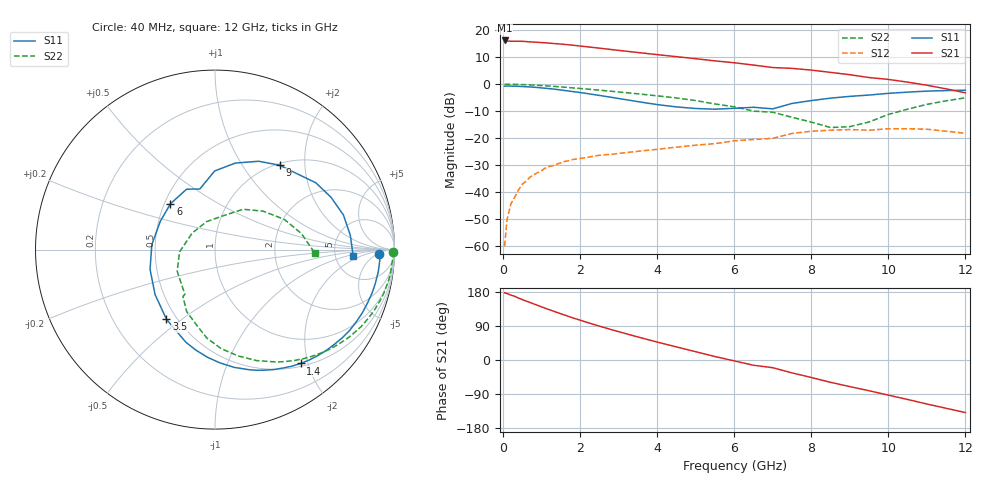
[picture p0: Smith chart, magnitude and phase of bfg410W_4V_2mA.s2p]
! Filename: 42bfg410.001
! BFG410W Field B1
! V1=8.279E-001V,V2=4.000E+000V, I1=2.180E-005A, I2=2.000E-003A
# GHz  S  MA  R 50
!  S11  S21  S12  S22
!Freq(GHz)  Mag  Ang  Mag  Ang  Mag  Ang  Mag  Ang
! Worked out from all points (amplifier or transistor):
!   44 points, 40 MHz to 12 GHz, reference 50 ohm
!   highest |S21| = 16.1 dB at 40 MHz (marker M1)
!   |S21| within 3 dB of that: start of sweep to 2.589 GHz
!   unconditionally stable (mu >= 1): 3.375 GHz to end of sweep
!   at 700 MHz: K = 0.20, MSG = 25.0 dB, |S12| = -34.4 dB
!   at 2.4 GHz: K = 0.65, MSG = 20.0 dB, |S12| = -26.6 dB
!   at 12 GHz: K = 1.86, MAG = 2.1 dB, |S12| = -18.2 dB
!   S11 on the Smith chart (normalised r, x): 40 MHz: 21, -7; 1.4 GHz: 0.55, -1.88; 3.5 GHz: 0.44, -0.44; 6 GHz: 0.54, +0.31; 9 GHz: 1.03, +1.49; 12 GHz: 7.50, -1.32
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0.04  0.916 -1.7  6.417 177.4  0.001 53.0  0.994 -0.7
0.1  0.92 -3.9  6.255 175.5  0.003 77.4  0.994 -2.3
0.2  0.918 -7.8  6.209 171.3  0.006 78.6  0.988 -4.9
0.4  0.908 -15.5  6.209 163.5  0.011 75.9  0.983 -9.7
0.6  0.893 -23.4  6.12 155.5  0.016 71.8  0.972 -14.3
1  0.849 -38.5  5.872 140.2  0.025 62.6  0.938 -23.5
1.4  0.794 -53.0  5.576 125.6  0.033 54.1  0.898 -32.0
1.8  0.728 -67.2  5.248 111.6  0.04 46.6  0.852 -39.9
2.2  0.665 -80.7  4.881 98.7  0.044 40.5  0.806 -47.3
2.8  0.57 -100.8  4.365 80.5  0.05 33.3  0.737 -57.8
3.5  0.473 -124.9  3.841 60.8  0.057 27.0  0.66 -69.5
4  0.417 -143.3  3.508 47.3  0.062 23.2  0.606 -77.8
4.5  0.378 -163.2  3.218 34.5  0.068 19.3  0.553 -86.4
5  0.353 175.5  2.949 21.9  0.074 14.6  0.495 -95.3
6  0.356 134.3  2.481 -2.3  0.089 4.5  0.38 -114.5
6.5  0.372 115.2  2.248 -13.9  0.094 -1.2  0.316 -124.5
7  0.348 104.0  2.025 -20.3  0.099 9.2  0.301 -123.9
7.5  0.438 90.3  1.952 -34.1  0.122 -7.3  0.243 -150.1
8.5  0.549 63.7  1.647 -58.9  0.14 -30.9  0.157 143.9
9  0.592 52.6  1.491 -70.2  0.144 -40.8  0.163 106.4
10.5  0.709 24.3  1.087 -104.1  0.149 -72.0  0.343 38.7
12  0.771 -2.7  0.689 -138.7  0.123 -112.8  0.557 -2.1
